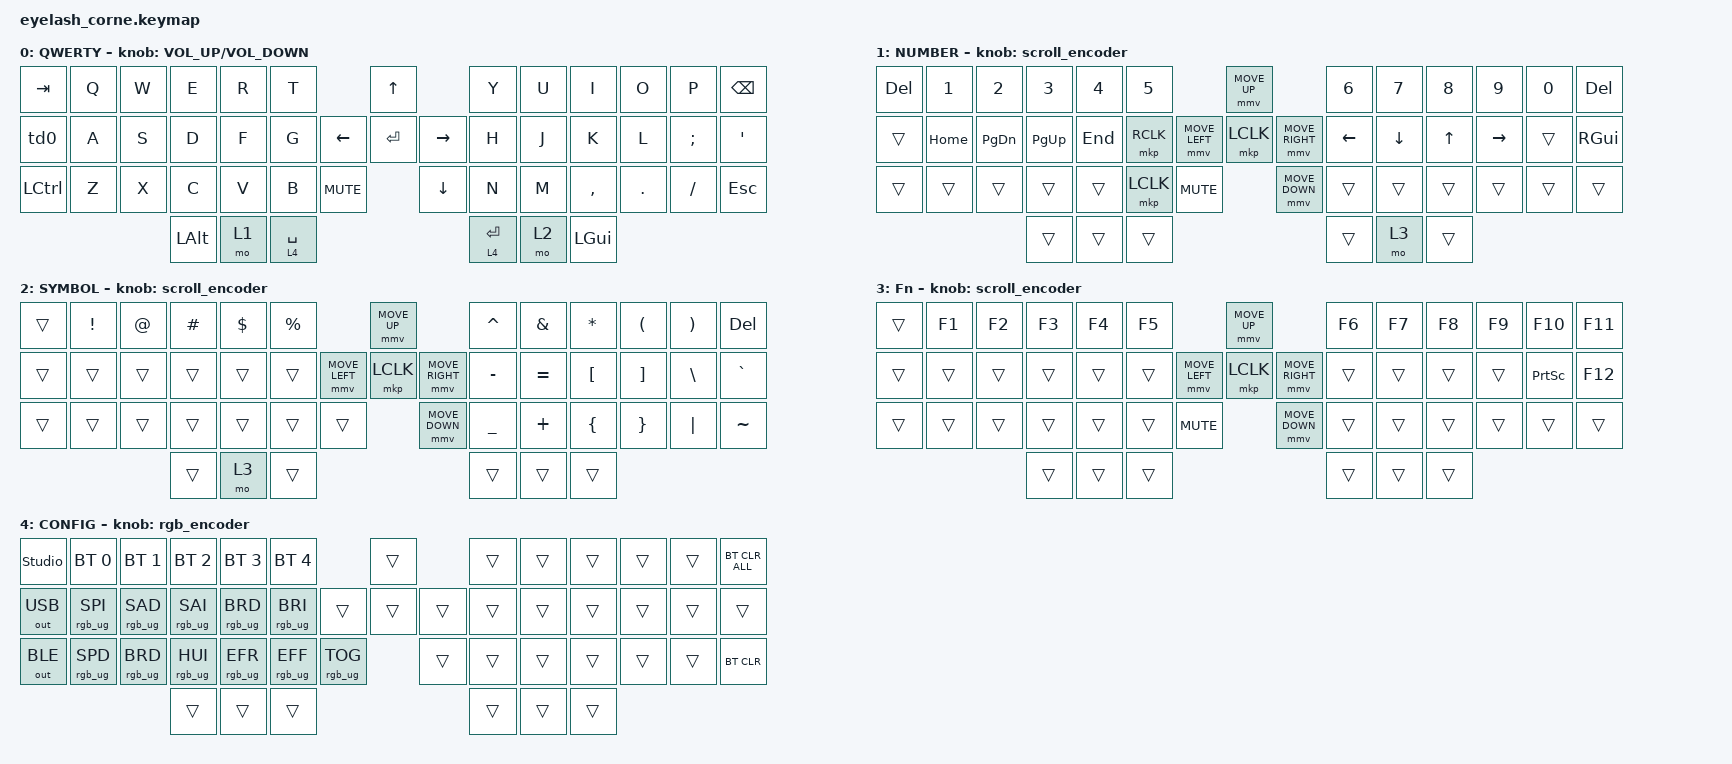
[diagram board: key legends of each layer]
#define ZMK_POINTING_DEFAULT_MOVE_VAL 1200  // 600
#define ZMK_POINTING_DEFAULT_SCRL_VAL 25   // 10

#include <input/processors.dtsi>
#include <zephyr/dt-bindings/input/input-event-codes.h>
#include <behaviors.dtsi>
#include <dt-bindings/zmk/bt.h>
#include <dt-bindings/zmk/keys.h>
#include <dt-bindings/zmk/outputs.h>
#include <dt-bindings/zmk/pointing.h>
#include <dt-bindings/zmk/rgb.h>

&mmv_input_listener { input-processors = <&zip_xy_scaler 2 1>; };

&msc_input_listener { input-processors = <&zip_scroll_scaler 2 1>; };

&msc {
    acceleration-exponent = <1>;      // 0
    time-to-max-speed-ms = <100>;       // 300
    delay-ms = <0>;                   // 0
};

&mmv {
    time-to-max-speed-ms = <500>;
    acceleration-exponent = <1>;
    trigger-period-ms = <16>;
};

&lt {
    tapping-term-ms = <300>;
    require-prior-idle-ms = <150>;
    quick-tap-ms = <200>;
};

/ {
    behaviors {
        td0: td0 {
            compatible = "zmk,behavior-tap-dance";
            display-name = "Shift/Caps Lock Tap Dance";
            #binding-cells = <0>;
            bindings = <&kp LEFT_SHIFT>, <&none>, <&none>, <&kp CAPS>;
        };
    };

    rgb_encoder: rgb_encoder {
        compatible = "zmk,behavior-sensor-rotate";
        #sensor-binding-cells = <0>;
        bindings = <&rgb_ug RGB_BRI>, <&rgb_ug RGB_BRD>;
    };

    scroll_encoder: scroll_encoder {
        compatible = "zmk,behavior-sensor-rotate";
        #sensor-binding-cells = <0>;
        bindings = <&msc SCRL_DOWN>, <&msc SCRL_UP>;

        tap-ms = <100>;
    };

    keymap {
        compatible = "zmk,keymap";

        default_layer {
            display-name = "QWERTY";
            bindings = <
&kp TAB    &kp Q  &kp W  &kp E     &kp R  &kp T                                &kp UP                &kp Y        &kp U  &kp I      &kp O    &kp P     &kp BSPC
&td0       &kp A  &kp S  &kp D     &kp F  &kp G                      &kp LEFT  &kp ENTER  &kp RIGHT  &kp H        &kp J  &kp K      &kp L    &kp SEMI  &kp SQT
&kp LCTRL  &kp Z  &kp X  &kp C     &kp V  &kp B        &kp C_MUTE              &kp DOWN              &kp N        &kp M  &kp COMMA  &kp DOT  &kp FSLH  &kp ESC
                         &kp LALT  &mo 1  &lt 4 SPACE                                                &lt 4 ENTER  &mo 2  &kp LGUI
            >;

            sensor-bindings = <&inc_dec_kp C_VOLUME_UP C_VOLUME_DOWN>;
        };

        lower_layer {
            display-name = "NUMBER";
            bindings = <
&kp DEL  &kp N1    &kp N2     &kp N3     &kp N4   &kp N5                                   &mmv MOVE_UP                     &kp N6    &kp N7    &kp N8  &kp N9     &kp N0  &kp DEL
&trans   &kp HOME  &kp PG_DN  &kp PG_UP  &kp END  &mkp RCLK                &mmv MOVE_LEFT  &mkp LCLK       &mmv MOVE_RIGHT  &kp LEFT  &kp DOWN  &kp UP  &kp RIGHT  &trans  &kp RGUI
&trans   &trans    &trans     &trans     &trans   &mkp LCLK  &kp C_MUTE                    &mmv MOVE_DOWN                   &trans    &trans    &trans  &trans     &trans  &trans
                              &trans     &trans   &trans                                                                    &trans    &mo 3     &trans
            >;

            sensor-bindings = <&scroll_encoder>;
        };

        raise_layer {
            display-name = "SYMBOL";
            bindings = <
&trans  &kp EXCL  &kp AT  &kp HASH  &kp DLLR  &kp PRCNT                            &mmv MOVE_UP                     &kp CARET  &kp AMPS   &kp ASTRK  &kp LPAR  &kp RPAR  &kp DEL
&trans  &trans    &trans  &trans    &trans    &trans               &mmv MOVE_LEFT  &mkp LCLK       &mmv MOVE_RIGHT  &kp MINUS  &kp EQUAL  &kp LBKT   &kp RBKT  &kp BSLH  &kp GRAVE
&trans  &trans    &trans  &trans    &trans    &trans     &trans                    &mmv MOVE_DOWN                   &kp UNDER  &kp PLUS   &kp LBRC   &kp RBRC  &kp PIPE  &kp TILDE
                          &trans    &mo 3     &trans                                                                &trans     &trans     &trans
            >;

            sensor-bindings = <&scroll_encoder>;
        };

        layer_3 {
            display-name = "Fn";
            bindings = <
&trans  &kp F1  &kp F2  &kp F3  &kp F4  &kp F5                                &mmv MOVE_UP                     &kp F6  &kp F7  &kp F8  &kp F9  &kp F10          &kp F11
&trans  &trans  &trans  &trans  &trans  &trans                &mmv MOVE_LEFT  &mkp LCLK       &mmv MOVE_RIGHT  &trans  &trans  &trans  &trans  &kp PRINTSCREEN  &kp F12
&trans  &trans  &trans  &trans  &trans  &trans  &kp C_MUTE                    &mmv MOVE_DOWN                   &trans  &trans  &trans  &trans  &trans           &trans
                        &trans  &trans  &trans                                                                 &trans  &trans  &trans
            >;

            sensor-bindings = <&scroll_encoder>;
        };

        layer_4 {
            bindings = <
&studio_unlock  &bt BT_SEL 0     &bt BT_SEL 1     &bt BT_SEL 2     &bt BT_SEL 3     &bt BT_SEL 4                                &trans          &trans  &trans  &trans  &trans  &trans  &bt BT_CLR_ALL
&out OUT_USB    &rgb_ug RGB_SPI  &rgb_ug RGB_SAD  &rgb_ug RGB_SAI  &rgb_ug RGB_BRD  &rgb_ug RGB_BRI                     &trans  &trans  &trans  &trans  &trans  &trans  &trans  &trans  &trans
&out OUT_BLE    &rgb_ug RGB_SPD  &rgb_ug RGB_BRD  &rgb_ug RGB_HUI  &rgb_ug RGB_EFR  &rgb_ug RGB_EFF  &rgb_ug RGB_TOG            &trans          &trans  &trans  &trans  &trans  &trans  &bt BT_CLR
                                                  &trans           &trans           &trans                                                      &trans  &trans  &trans
            >;

            label = "CONFIG";
            sensor-bindings = <&rgb_encoder>;
        };
    };
};
